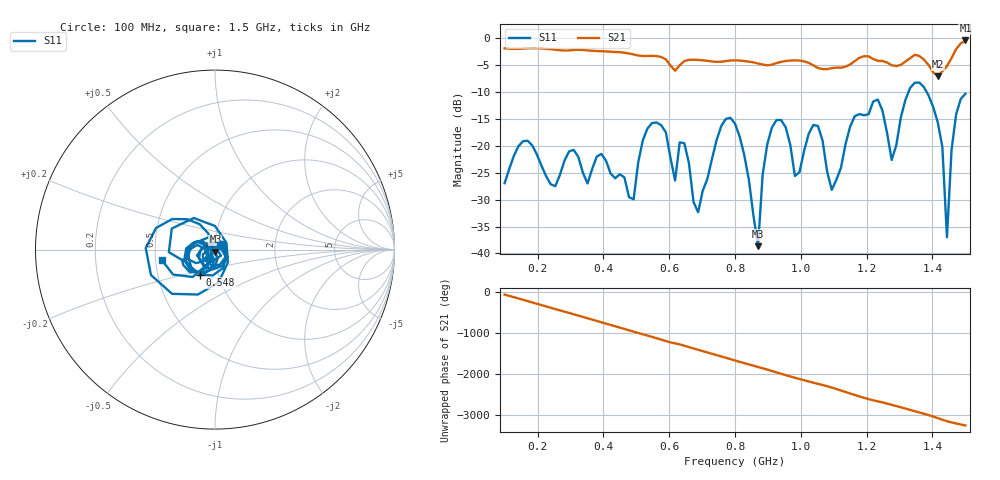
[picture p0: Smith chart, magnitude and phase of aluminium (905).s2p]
! NanoVNA-App
! Date: 2025-09-25 15:02:19
! Start: 100MHz Stop: 1,5GHz Points: 101
! S-Parameter data: F S11 S21 S12 S22
# Hz S RI R 50
!  Frequency  S11_Real  S11_Imag  S21_Real  S21_Imag  S12_Real  S12_Imag  S22_Real  S22_Imag
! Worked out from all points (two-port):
!   101 points, 100 MHz to 1.5 GHz, reference 50 ohm
!   highest |S21| = -0.46 dB at 1.5 GHz (marker M1); lowest = -7.1 dB at 1.416 GHz (marker M2)
!   |S21| within 3 dB of the highest: start of sweep to 569.9 MHz; 1.46 GHz to end of sweep (the widest 2 of 4)
!   lowest |S11| = -38.6 dB at 870 MHz (marker M3), VSWR 1.02, Z = 50.2 - j1.15 ohm
!   |S11| at or under -10 dB: start of sweep to 1.327 GHz; 1.382 GHz to end of sweep
!   S12 and S22 are empty: the file has one direction only
!   S11 on the Smith chart (normalised r, x): 100 MHz: 1.07, +0.06; 548 MHz: 0.82, -0.24; 1.5 GHz: 0.54, -0.07
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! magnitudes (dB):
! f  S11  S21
! 100 MHz  -27.0  -1.9
! 156 MHz  -19.2  -2.0
! 338 MHz  -25.0  -2.2
! 492 MHz  -30.0  -3.1
! 548 MHz  -15.8  -3.3
! 576 MHz  -16.2  -3.5
! 618 MHz  -26.5  -6.1
! 646 MHz  -19.5  -4.3
! 688 MHz  -32.3  -4.1
! 800 MHz  -15.9  -4.2
! 870 MHz  -38.6  -4.7
! 912 MHz  -16.6  -5.0
! 982 MHz  -25.6  -4.1
! 1.038 GHz  -16.1  -5.1
! 1.094 GHz  -28.2  -5.6
! 1.22 GHz  -11.8  -3.9
! 1.276 GHz  -22.6  -5.1
! 1.346 GHz  -8.3  -3.1
! 1.416 GHz  -15.6  -7.1
! 1.444 GHz  -37.0  -5.2
! 1.458 GHz  -20.7  -3.7
! 1.5 GHz  -10.4  -0.5
